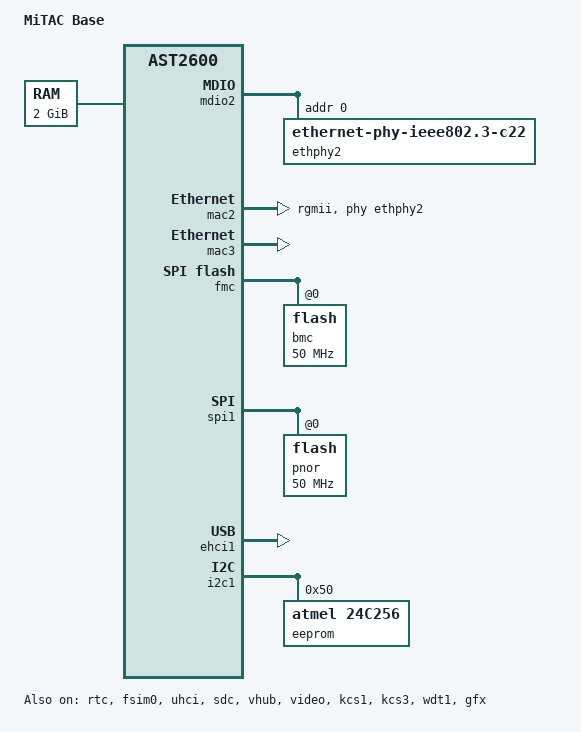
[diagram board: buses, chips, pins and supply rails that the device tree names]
// SPDX-License-Identifier: GPL-2.0-or-later
// Copyright 2019 IBM Corp.

/dts-v1/;

#include "aspeed-g6.dtsi"
#include <dt-bindings/gpio/aspeed-gpio.h>

/ {
	model = "MiTAC Base";
	compatible = "aspeed,ast2600-evb", "aspeed,ast2600";

	aliases {
		serial4 = &uart5;
	};

	chosen {
		bootargs = "console=ttyS4,115200n8";
	};

	memory@80000000 {
		device_type = "memory";
		reg = <0x80000000 0x80000000>;
	};

	reserved-memory {
		#address-cells = <1>;
		#size-cells = <1>;
		ranges;

		video_engine_memory: video {
			size = <0x04000000>;
			alignment = <0x01000000>;
			compatible = "shared-dma-pool";
			reusable;
		};

		gfx_memory: framebuffer {
			size = <0x01000000>;
			alignment = <0x01000000>;
			compatible = "shared-dma-pool";
			reusable;
		};
	};
};

&mdio2 {
	status = "okay";

	ethphy2: ethernet-phy@2 {
		compatible = "ethernet-phy-ieee802.3-c22";
		reg = <0>;
	};
};

&mac2 {
	status = "okay";

	phy-mode = "rgmii";
	phy-handle = <&ethphy2>;

	pinctrl-names = "default";
	pinctrl-0 = <&pinctrl_rgmii3_default>;
};

&mac3 {
        status = "okay";
        pinctrl-names = "default";
        pinctrl-0 = <&pinctrl_rmii4_default>;
	clock-names = "MACCLK", "RCLK";
        use-ncsi;
};


&rtc {
	status = "okay";
};

&fmc {
	status = "okay";
	flash@0 {
		status = "okay";
		m25p,fast-read;
		label = "bmc";
		spi-rx-bus-width = <4>;
		spi-max-frequency = <50000000>;
#include "openbmc-flash-layout-64.dtsi"
	};
};

&spi1 {
	status = "okay";
	pinctrl-names = "default";
	pinctrl-0 = <&pinctrl_spi1_default>;

	flash@0 {
		status = "okay";
		m25p,fast-read;
		label = "pnor";
		spi-rx-bus-width = <1>;
		spi-max-frequency = <50000000>;
	};
};

&uart5 {
	// Workaround for A0
	compatible = "snps,dw-apb-uart";
};

&fsim0 {
	status = "okay";
};

&ehci1 {
	status = "okay";
};

&uhci {
	status = "okay";
};

&sdc {
	status = "okay";
};

&vhub {
	status = "okay";
	pinctrl-names = "default";
};

&video {
	status = "okay";
	memory-region = <&video_engine_memory>;
};

&kcs1 {
	status = "okay";
	aspeed,lpc-io-reg = <0xca8>;
};

&kcs3 {
	status = "okay";
	aspeed,lpc-io-reg = <0xca2>;
	aspeed,lpc-interrupts = <1 IRQ_TYPE_LEVEL_HIGH>;
};

&wdt1 {
        status = "okay";
        pinctrl-names = "default";
        pinctrl-0 = <&pinctrl_wdtrst1_default>;
        aspeed,reset-type = "soc";
        aspeed,external-signal;
        aspeed,ext-push-pull;
        aspeed,ext-active-high;
        aspeed,ext-pulse-duration = <256>;
};

&i2c1 {
	status = "okay";
	// MB FRU
	eeprom@50 {
		compatible = "atmel,24c256";
		reg = <0x50>;
	};

};

&gpio0 {
	gpio-line-names =
	/*A0-A7*/	"gpio-a0","","","","","","","",
	/*B0-B7*/	"gpio-b0","chassis-power-good","","","","","","",
	/*C0-C7*/	"gpio-c0","","","",
			"","","","",
	/*D0-D7*/	"gpio-d0","","","",
			"","","","",
	/*E0-E7*/	"gpio-e0","","","","","","","",
	/*F0-F7*/	"gpio-f0","","",
			"","","",
			"","",
	/*G0-G7*/	"identify-led","","","",
			"","spi-mux-bios","","bmc-ready",
	/*H0-H7*/	"gpio-h0","","",
			"","","","","",
	/*I0-I7*/	"gpio-i0","","","","","","","",
	/*J0-J7*/	"gpio-j0","","","","","","","",
	/*K0-K7*/	"gpio-k0","","","","","","","",
	/*L0-L7*/	"gpio-l0","","","","","","","",
	/*M0-M7*/	"gpio-00","","","",
			"","","","",
	/*N0-N7*/	"gpio-n0","nmi-control","","",
			"","","","",
	/*O0-O7*/	"gpio-o0","","","","","","","",
	/*P0-P7*/	"reset-button","reset-control","power-button","power-control",
			"nmi-button","","","",
	/*Q0-Q7*/	"gpio-q0","","","","","","","",
	/*R0-R7*/	"gpio-r0","","","","","","","",
	/*S0-S7*/	"gpio-s0","","","",
			"","","","",
	/*T0-T7*/	"gpio-t0","","","","","","","",
	/*U0-U7*/	"gpio-u0","","","","","","","",
	/*V0-V7*/	"gpio-v0","","",
			"","","",
			"","",
	/*W0-W7*/	"gpio-w0","","","",
			"","","","",
	/*X0-X7*/	"gpio-x0","cpu0-thermtrip",
			"cpu1-thermtrip","",
			"","",
			"","",
	/*Y0-Y7*/	"gpio-y0","bios-post-complete","","","","","","",
	/*Z0-Z7*/	"gpio-z0","","","","","","","";
};

&gpio1 {
	gpio-line-names =
	/*18A0-18A7*/	"","","identify-button","",
			"","","","",
	/*18B0-18B7*/	"","","","","","","","",
	/*18C0-18C7*/	"","","","",
			"","","","",
	/*18D0-18D7*/	"","","","","","","","",
	/*18E0-18E3*/	"","","","";
};

&gfx {
	pcie-reset-detect;
	status = "okay";
	memory-region = <&gfx_memory>;
};
